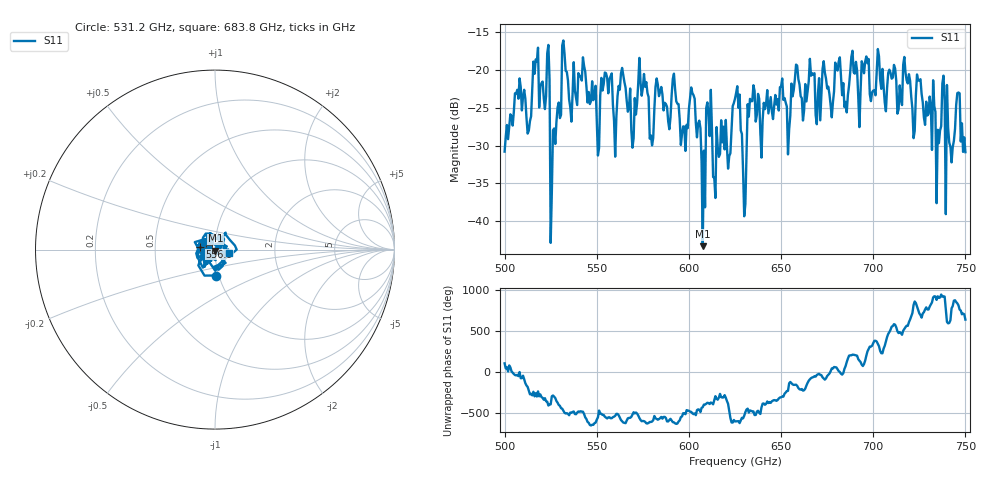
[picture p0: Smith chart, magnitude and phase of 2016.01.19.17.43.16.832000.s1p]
!Created with skrf (http://scikit-rf.org).
# GHz S RI R 50.0
!freq ReS11 ImS11
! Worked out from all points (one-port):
!   401 points, 500 GHz to 750 GHz, reference 50 ohm
!   lowest |S11| = -43.3 dB at 607.5 GHz (marker M1), VSWR 1.01, Z = 50.2 - j0.641 ohm
!   |S11| at or under -10 dB: start of sweep to end of sweep
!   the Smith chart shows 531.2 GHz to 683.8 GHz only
!   S11 on the Smith chart (normalised r, x): 531.2 GHz: 0.97, -0.29; 556.9 GHz: 0.84, +0.03; 683.8 GHz: 1.17, -0.05
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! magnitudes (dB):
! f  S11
! 500 GHz  -30.8
! 507.5 GHz  -23.8
! 513.1 GHz  -28.0
! 516.9 GHz  -18.6
! 523.1 GHz  -17.8
! 526.2 GHz  -28.0
! 531.2 GHz  -16.8
! 550.6 GHz  -31.3
! 556.9 GHz  -21.3
! 560 GHz  -31.5
! 562.5 GHz  -22.6
! 570 GHz  -29.0
! 576.2 GHz  -22.2
! 580 GHz  -30.0
! 583.1 GHz  -21.9
! 593.8 GHz  -24.5
! 601.9 GHz  -23.1
! 607.5 GHz  -43.3
! 610.6 GHz  -25.8
! 614.4 GHz  -36.9
! 625 GHz  -23.8
! 630 GHz  -39.3
! 634.4 GHz  -24.1
! 656.2 GHz  -23.5
! 683.8 GHz  -21.8
! 687.5 GHz  -20.3
! 718.8 GHz  -21.8
! 750 GHz  -30.9
